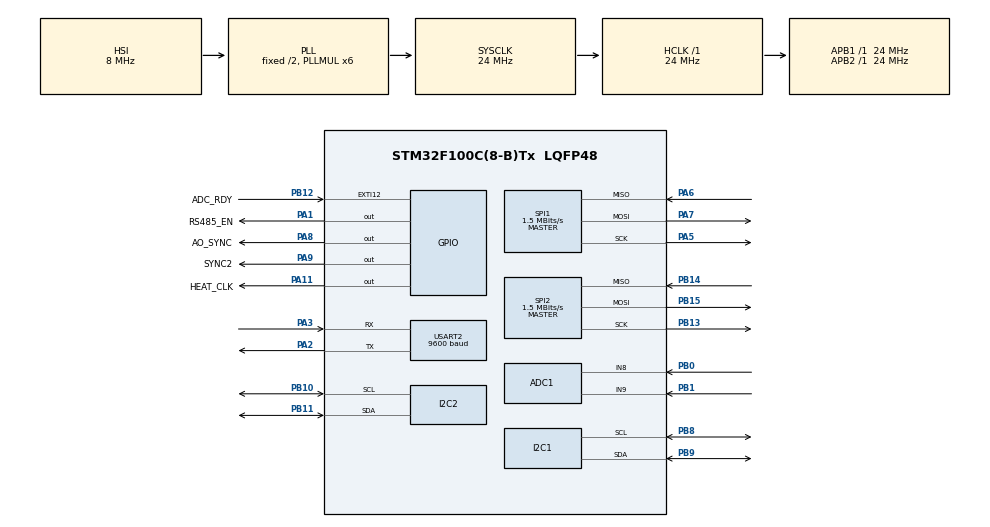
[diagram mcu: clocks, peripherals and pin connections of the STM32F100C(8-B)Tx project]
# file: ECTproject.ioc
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ADC1.Channel-0\#ChannelRegularConversion=ADC_CHANNEL_8
ADC1.ContinuousConvMode=ENABLE
ADC1.NbrOfConversion=1
ADC1.NbrOfConversionFlag=1
ADC1.Rank-0\#ChannelRegularConversion=1
ADC1.SamplingTime-0\#ChannelRegularConversion=ADC_SAMPLETIME_1CYCLE_5
ADC1.master=1
Dma.ADC1.0.Direction=DMA_PERIPH_TO_MEMORY
Dma.ADC1.0.Instance=DMA1_Channel1
Dma.ADC1.0.MemDataAlignment=DMA_MDATAALIGN_HALFWORD
Dma.ADC1.0.MemInc=DMA_MINC_ENABLE
Dma.ADC1.0.Mode=DMA_NORMAL
Dma.ADC1.0.PeriphDataAlignment=DMA_PDATAALIGN_HALFWORD
Dma.ADC1.0.PeriphInc=DMA_PINC_DISABLE
Dma.ADC1.0.Priority=DMA_PRIORITY_LOW
Dma.Request0=ADC1
I2C1.DualAddressMode=I2C_DUALADDRESS_DISABLE
Mcu.Family=STM32F1
Mcu.Name=STM32F100C(8-B)Tx
Mcu.Package=LQFP48
NVIC.DMA1_Channel1_IRQn=true\:0\:0\:false\:false\:true\:false\:true\:true
NVIC.EXTI15_10_IRQn=true\:0\:0\:false\:false\:true\:true\:true\:true
NVIC.PriorityGroup=NVIC_PRIORITYGROUP_4
NVIC.RTC_Alarm_IRQn=true\:0\:0\:false\:false\:true\:true\:true\:true
NVIC.TIM2_IRQn=true\:0\:0\:false\:false\:true\:true\:true\:true
NVIC.TIM3_IRQn=true\:0\:0\:false\:false\:true\:true\:true\:true
NVIC.USART2_IRQn=true\:0\:0\:false\:false\:true\:true\:true\:true
PA1.GPIO_Label=RS485_EN
PA1.Signal=GPIO_Output
PA11.GPIO_Label=HEAT_CLK
PA11.Signal=GPIO_Output
PA13.Mode=Serial_Wire
PA13.Signal=SYS_JTMS-SWDIO
PA14.Mode=Serial_Wire
PA14.Signal=SYS_JTCK-SWCLK
PA2.Mode=Asynchronous
PA2.Signal=USART2_TX
PA3.Mode=Asynchronous
PA3.Signal=USART2_RX
PA5.Mode=Full_Duplex_Master
PA5.Signal=SPI1_SCK
PA6.Mode=Full_Duplex_Master
PA6.Signal=SPI1_MISO
PA7.Mode=Full_Duplex_Master
PA7.Signal=SPI1_MOSI
PA8.GPIO_Label=AO_SYNC
PA8.Signal=GPIO_Output
PA9.GPIO_Label=SYNC2
PA9.Signal=GPIO_Output
PB0.Signal=ADCx_IN8
PB1.Signal=ADCx_IN9
PB10.Mode=I2C
PB10.Signal=I2C2_SCL
PB11.Mode=I2C
PB11.Signal=I2C2_SDA
PB12.GPIO_Label=ADC_RDY
PB12.GPIO_ModeDefaultEXTI=GPIO_MODE_IT_FALLING
PB12.GPIO_PuPd=GPIO_PULLUP
PB12.Signal=GPXTI12
PB13.Mode=Full_Duplex_Master
PB13.Signal=SPI2_SCK
PB14.Mode=Full_Duplex_Master
PB14.Signal=SPI2_MISO
PB15.Mode=Full_Duplex_Master
PB15.Signal=SPI2_MOSI
PB8.Mode=I2C
PB8.Signal=I2C1_SCL
PB9.Mode=I2C
PB9.Signal=I2C1_SDA
PD0-OSC_IN.Mode=HSE-External-Oscillator
PD0-OSC_IN.Signal=RCC_OSC_IN
PD1-OSC_OUT.Mode=HSE-External-Oscillator
PD1-OSC_OUT.Signal=RCC_OSC_OUT
ProjectManager.HeapSize=0x200
ProjectManager.StackSize=0x400
ProjectManager.TargetToolchain=EWARM V7
RCC.AHBFreq_Value=24000000
RCC.APB1Freq_Value=24000000
RCC.APB1TimFreq_Value=24000000
RCC.APB2Freq_Value=24000000
RCC.APB2TimFreq_Value=24000000
RCC.HCLKFreq_Value=24000000
RCC.PLLMUL=RCC_PLL_MUL6
RCC.SYSCLKFreq_VALUE=24000000
RCC.SYSCLKSource=RCC_SYSCLKSOURCE_PLLCLK
SH.ADCx_IN8.0=ADC1_IN8,IN8
SH.ADCx_IN9.0=ADC1_IN9,IN9
SPI1.BaudRatePrescaler=SPI_BAUDRATEPRESCALER_16
SPI1.CLKPolarity=SPI_POLARITY_HIGH
SPI1.CalculateBaudRate=1.5 MBits/s
SPI1.Direction=SPI_DIRECTION_2LINES
SPI1.Mode=SPI_MODE_MASTER
SPI1.VirtualType=VM_MASTER
SPI2.BaudRatePrescaler=SPI_BAUDRATEPRESCALER_16
SPI2.CLKPolarity=SPI_POLARITY_HIGH
SPI2.CalculateBaudRate=1.5 MBits/s
SPI2.Direction=SPI_DIRECTION_2LINES
SPI2.Mode=SPI_MODE_MASTER
SPI2.VirtualType=VM_MASTER
TIM2.AutoReloadPreload=TIM_AUTORELOAD_PRELOAD_ENABLE
TIM2.Period=1
TIM2.Prescaler=24000-1
TIM3.AutoReloadPreload=TIM_AUTORELOAD_PRELOAD_ENABLE
TIM3.CounterMode=TIM_COUNTERMODE_DOWN
TIM3.Period=1
TIM3.Prescaler=24000-1
USART2.BaudRate=9600
USART2.VirtualMode=VM_ASYNC
VP_RTC_VS_RTC_Activate.Mode=RTC_Enabled
VP_TIM2_VS_ClockSourceINT.Mode=Internal
VP_TIM3_VS_ClockSourceINT.Mode=Internal
board=custom

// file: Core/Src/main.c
/* USER CODE BEGIN Header */
/**
  ******************************************************************************
  * @file           : main.c
  * @brief          : Main program body
  ******************************************************************************
  * @attention
  *
  * Copyright (c) 2024 STMicroelectronics.
  * All rights reserved.
  *
  * This software is licensed under terms that can be found in the LICENSE file
  * in the root directory of this software component.
  * If no LICENSE file comes with this software, it is provided AS-IS.
  *
  ******************************************************************************
  */
/* USER CODE END Header */
#include "main.h"

ADC_HandleTypeDef hadc1;
DMA_HandleTypeDef hdma_adc1;

I2C_HandleTypeDef hi2c1;
I2C_HandleTypeDef hi2c2;

RTC_HandleTypeDef hrtc;

SPI_HandleTypeDef hspi1;
SPI_HandleTypeDef hspi2;

TIM_HandleTypeDef htim2;
TIM_HandleTypeDef htim3;

UART_HandleTypeDef huart2;

void SystemClock_Config(void);
static void MX_GPIO_Init(void);
static void MX_DMA_Init(void);
static void MX_ADC1_Init(void);
static void MX_I2C1_Init(void);
static void MX_I2C2_Init(void);
static void MX_SPI1_Init(void);
static void MX_SPI2_Init(void);
static void MX_TIM2_Init(void);
static void MX_USART2_UART_Init(void);
static void MX_RTC_Init(void);
static void MX_TIM3_Init(void);

int main(void)
{
  /* USER CODE BEGIN 1 */
  SCB->VTOR = 0x8000000 | 0x3000;
  /* USER CODE END 1 */

  /* MCU Configuration--------------------------------------------------------*/

  /* Reset of all peripherals, Initializes the Flash interface and the Systick. */
  HAL_Init();

  /* Configure the system clock */
  SystemClock_Config();

  /* Initialize all configured peripherals */
  MX_GPIO_Init();
  MX_DMA_Init();
  MX_ADC1_Init();
  MX_I2C1_Init();
  MX_I2C2_Init();
  MX_SPI1_Init();
  MX_SPI2_Init();
  MX_TIM2_Init();
  MX_USART2_UART_Init();
  MX_RTC_Init();
  MX_TIM3_Init();
  /* USER CODE BEGIN 2 */
  fk_adc1=hadc1;
  fk_dma_adc1=hdma_adc1;
  fk_i2c1=hi2c1;
  fk_i2c2=hi2c2;
  fk_rtc=hrtc;
  fk_spi1=hspi1;
  fk_spi2=hspi2;
  fk_tim2=htim2;
  fk_tim3=htim3;
  fk_usart2=huart2;

  PFC_INIT_API();
  HBTC_INIT_API();
  //BTC_INIT_API();
  MODBUS_SLAVE_INIT_API();
  CRC_INIT_API();
  //KEY_INIT_API();
  //FN_INIT_API();
  ////===== Ver 1.0.05 =====
  ////ST7565_INIT_API();
  //UDM_INIT_API();
  //UIF_INIT_API();
  //GDM_INIT_API();
  //MODBUS_MASTER_INIT_API();
  //EPH_COMM_INIT_API();
  //LED7SEG_INIT_API();
  //SSD_IO_INIT_API();
  //LED_INIT_API();
  /* USER CODE END 2 */

  /* Infinite loop */
  while (1)
  {

  }
}

void SystemClock_Config(void)
{
  RCC_OscInitTypeDef RCC_OscInitStruct = {0};
  RCC_ClkInitTypeDef RCC_ClkInitStruct = {0};
  RCC_PeriphCLKInitTypeDef PeriphClkInit = {0};

  /** Initializes the RCC Oscillators according to the specified parameters
  * in the RCC_OscInitTypeDef structure.
  */
  RCC_OscInitStruct.OscillatorType = RCC_OSCILLATORTYPE_HSI|RCC_OSCILLATORTYPE_LSI;
  RCC_OscInitStruct.HSIState = RCC_HSI_ON;
  RCC_OscInitStruct.HSICalibrationValue = RCC_HSICALIBRATION_DEFAULT;
  RCC_OscInitStruct.LSIState = RCC_LSI_ON;
  RCC_OscInitStruct.PLL.PLLState = RCC_PLL_ON;
  RCC_OscInitStruct.PLL.PLLSource = RCC_PLLSOURCE_HSI_DIV2;
  RCC_OscInitStruct.PLL.PLLMUL = RCC_PLL_MUL6;
  if (HAL_RCC_OscConfig(&RCC_OscInitStruct) != HAL_OK)
  {
    Error_Handler();
  }

  /** Initializes the CPU, AHB and APB buses clocks
  */
  RCC_ClkInitStruct.ClockType = RCC_CLOCKTYPE_HCLK|RCC_CLOCKTYPE_SYSCLK
                              |RCC_CLOCKTYPE_PCLK1|RCC_CLOCKTYPE_PCLK2;
  RCC_ClkInitStruct.SYSCLKSource = RCC_SYSCLKSOURCE_PLLCLK;
  RCC_ClkInitStruct.AHBCLKDivider = RCC_SYSCLK_DIV1;
  RCC_ClkInitStruct.APB1CLKDivider = RCC_HCLK_DIV1;
  RCC_ClkInitStruct.APB2CLKDivider = RCC_HCLK_DIV1;

  if (HAL_RCC_ClockConfig(&RCC_ClkInitStruct, FLASH_LATENCY_0) != HAL_OK)
  {
    Error_Handler();
  }
  PeriphClkInit.PeriphClockSelection = RCC_PERIPHCLK_RTC|RCC_PERIPHCLK_ADC;
  PeriphClkInit.RTCClockSelection = RCC_RTCCLKSOURCE_LSI;
  PeriphClkInit.AdcClockSelection = RCC_ADCPCLK2_DIV2;
  if (HAL_RCCEx_PeriphCLKConfig(&PeriphClkInit) != HAL_OK)
  {
    Error_Handler();
  }
}

static void MX_ADC1_Init(void)
{

  ADC_ChannelConfTypeDef sConfig = {0};

  /** Common config
  */
  hadc1.Instance = ADC1;
  hadc1.Init.ScanConvMode = ADC_SCAN_DISABLE;
  hadc1.Init.ContinuousConvMode = ENABLE;
  hadc1.Init.DiscontinuousConvMode = DISABLE;
  hadc1.Init.ExternalTrigConv = ADC_SOFTWARE_START;
  hadc1.Init.DataAlign = ADC_DATAALIGN_RIGHT;
  hadc1.Init.NbrOfConversion = 1;
  if (HAL_ADC_Init(&hadc1) != HAL_OK)
  {
    Error_Handler();
  }

  /** Configure Regular Channel
  */
  sConfig.Channel = ADC_CHANNEL_8;
  sConfig.Rank = ADC_REGULAR_RANK_1;
  sConfig.SamplingTime = ADC_SAMPLETIME_1CYCLE_5;
  if (HAL_ADC_ConfigChannel(&hadc1, &sConfig) != HAL_OK)
  {
    Error_Handler();
  }

}

static void MX_I2C1_Init(void)
{

  hi2c1.Instance = I2C1;
  hi2c1.Init.ClockSpeed = 100000;
  hi2c1.Init.DutyCycle = I2C_DUTYCYCLE_2;
  hi2c1.Init.OwnAddress1 = 0;
  hi2c1.Init.AddressingMode = I2C_ADDRESSINGMODE_7BIT;
  hi2c1.Init.DualAddressMode = I2C_DUALADDRESS_DISABLE;
  hi2c1.Init.OwnAddress2 = 0;
  hi2c1.Init.GeneralCallMode = I2C_GENERALCALL_DISABLE;
  hi2c1.Init.NoStretchMode = I2C_NOSTRETCH_DISABLE;
  if (HAL_I2C_Init(&hi2c1) != HAL_OK)
  {
    Error_Handler();
  }

}

static void MX_I2C2_Init(void)
{

  hi2c2.Instance = I2C2;
  hi2c2.Init.ClockSpeed = 100000;
  hi2c2.Init.DutyCycle = I2C_DUTYCYCLE_2;
  hi2c2.Init.OwnAddress1 = 0;
  hi2c2.Init.AddressingMode = I2C_ADDRESSINGMODE_7BIT;
  hi2c2.Init.DualAddressMode = I2C_DUALADDRESS_DISABLE;
  hi2c2.Init.OwnAddress2 = 0;
  hi2c2.Init.GeneralCallMode = I2C_GENERALCALL_DISABLE;
  hi2c2.Init.NoStretchMode = I2C_NOSTRETCH_DISABLE;
  if (HAL_I2C_Init(&hi2c2) != HAL_OK)
  {
    Error_Handler();
  }

}

static void MX_RTC_Init(void)
{

  /** Initialize RTC Only
  */
  hrtc.Instance = RTC;
  hrtc.Init.AsynchPrediv = RTC_AUTO_1_SECOND;
  hrtc.Init.OutPut = RTC_OUTPUTSOURCE_ALARM;
  if (HAL_RTC_Init(&hrtc) != HAL_OK)
  {
    Error_Handler();
  }

}

static void MX_SPI1_Init(void)
{

  /* SPI1 parameter configuration*/
  hspi1.Instance = SPI1;
  hspi1.Init.Mode = SPI_MODE_MASTER;
  hspi1.Init.Direction = SPI_DIRECTION_2LINES;
  hspi1.Init.DataSize = SPI_DATASIZE_8BIT;
  hspi1.Init.CLKPolarity = SPI_POLARITY_HIGH;
  hspi1.Init.CLKPhase = SPI_PHASE_1EDGE;
  hspi1.Init.NSS = SPI_NSS_SOFT;
  hspi1.Init.BaudRatePrescaler = SPI_BAUDRATEPRESCALER_16;
  hspi1.Init.FirstBit = SPI_FIRSTBIT_MSB;
  hspi1.Init.TIMode = SPI_TIMODE_DISABLE;
  hspi1.Init.CRCCalculation = SPI_CRCCALCULATION_DISABLE;
  hspi1.Init.CRCPolynomial = 10;
  if (HAL_SPI_Init(&hspi1) != HAL_OK)
  {
    Error_Handler();
  }

}

static void MX_SPI2_Init(void)
{

  /* SPI2 parameter configuration*/
  hspi2.Instance = SPI2;
  hspi2.Init.Mode = SPI_MODE_MASTER;
  hspi2.Init.Direction = SPI_DIRECTION_2LINES;
  hspi2.Init.DataSize = SPI_DATASIZE_8BIT;
  hspi2.Init.CLKPolarity = SPI_POLARITY_HIGH;
  hspi2.Init.CLKPhase = SPI_PHASE_1EDGE;
  hspi2.Init.NSS = SPI_NSS_SOFT;
  hspi2.Init.BaudRatePrescaler = SPI_BAUDRATEPRESCALER_16;
  hspi2.Init.FirstBit = SPI_FIRSTBIT_MSB;
  hspi2.Init.TIMode = SPI_TIMODE_DISABLE;
  hspi2.Init.CRCCalculation = SPI_CRCCALCULATION_DISABLE;
  hspi2.Init.CRCPolynomial = 10;
  if (HAL_SPI_Init(&hspi2) != HAL_OK)
  {
    Error_Handler();
  }

}

static void MX_TIM2_Init(void)
{

  TIM_ClockConfigTypeDef sClockSourceConfig = {0};
  TIM_MasterConfigTypeDef sMasterConfig = {0};

  htim2.Instance = TIM2;
  htim2.Init.Prescaler = 24000-1;
  htim2.Init.CounterMode = TIM_COUNTERMODE_UP;
  htim2.Init.Period = 1;
  htim2.Init.ClockDivision = TIM_CLOCKDIVISION_DIV1;
  htim2.Init.AutoReloadPreload = TIM_AUTORELOAD_PRELOAD_ENABLE;
  if (HAL_TIM_Base_Init(&htim2) != HAL_OK)
  {
    Error_Handler();
  }
  sClockSourceConfig.ClockSource = TIM_CLOCKSOURCE_INTERNAL;
  if (HAL_TIM_ConfigClockSource(&htim2, &sClockSourceConfig) != HAL_OK)
  {
    Error_Handler();
  }
  sMasterConfig.MasterOutputTrigger = TIM_TRGO_RESET;
  sMasterConfig.MasterSlaveMode = TIM_MASTERSLAVEMODE_DISABLE;
  if (HAL_TIMEx_MasterConfigSynchronization(&htim2, &sMasterConfig) != HAL_OK)
  {
    Error_Handler();
  }

}

static void MX_TIM3_Init(void)
{

  TIM_ClockConfigTypeDef sClockSourceConfig = {0};
  TIM_MasterConfigTypeDef sMasterConfig = {0};

  htim3.Instance = TIM3;
  htim3.Init.Prescaler = 24000-1;
  htim3.Init.CounterMode = TIM_COUNTERMODE_DOWN;
  htim3.Init.Period = 1;
  htim3.Init.ClockDivision = TIM_CLOCKDIVISION_DIV1;
  htim3.Init.AutoReloadPreload = TIM_AUTORELOAD_PRELOAD_ENABLE;
  if (HAL_TIM_Base_Init(&htim3) != HAL_OK)
  {
    Error_Handler();
  }
  sClockSourceConfig.ClockSource = TIM_CLOCKSOURCE_INTERNAL;
  if (HAL_TIM_ConfigClockSource(&htim3, &sClockSourceConfig) != HAL_OK)
  {
    Error_Handler();
  }
  sMasterConfig.MasterOutputTrigger = TIM_TRGO_RESET;
  sMasterConfig.MasterSlaveMode = TIM_MASTERSLAVEMODE_DISABLE;
  if (HAL_TIMEx_MasterConfigSynchronization(&htim3, &sMasterConfig) != HAL_OK)
  {
    Error_Handler();
  }

}

static void MX_USART2_UART_Init(void)
{

  huart2.Instance = USART2;
  huart2.Init.BaudRate = 9600;
  huart2.Init.WordLength = UART_WORDLENGTH_8B;
  huart2.Init.StopBits = UART_STOPBITS_1;
  huart2.Init.Parity = UART_PARITY_NONE;
  huart2.Init.Mode = UART_MODE_TX_RX;
  huart2.Init.HwFlowCtl = UART_HWCONTROL_NONE;
  huart2.Init.OverSampling = UART_OVERSAMPLING_16;
  if (HAL_UART_Init(&huart2) != HAL_OK)
  {
    Error_Handler();
  }

}

static void MX_DMA_Init(void)
{

  /* DMA controller clock enable */
  __HAL_RCC_DMA1_CLK_ENABLE();

  /* DMA interrupt init */
  /* DMA1_Channel1_IRQn interrupt configuration */
  HAL_NVIC_SetPriority(DMA1_Channel1_IRQn, 0, 0);
  HAL_NVIC_EnableIRQ(DMA1_Channel1_IRQn);

}

static void MX_GPIO_Init(void)
{
  GPIO_InitTypeDef GPIO_InitStruct = {0};

  /* GPIO Ports Clock Enable */
  __HAL_RCC_GPIOD_CLK_ENABLE();
  __HAL_RCC_GPIOA_CLK_ENABLE();
  __HAL_RCC_GPIOB_CLK_ENABLE();

  /*Configure GPIO pin Output Level */
  HAL_GPIO_WritePin(GPIOA, RS485_EN_Pin|AO_SYNC_Pin|SYNC2_Pin|HEAT_CLK_Pin, GPIO_PIN_RESET);

  /*Configure GPIO pins : RS485_EN_Pin AO_SYNC_Pin SYNC2_Pin HEAT_CLK_Pin */
  GPIO_InitStruct.Pin = RS485_EN_Pin|AO_SYNC_Pin|SYNC2_Pin|HEAT_CLK_Pin;
  GPIO_InitStruct.Mode = GPIO_MODE_OUTPUT_PP;
  GPIO_InitStruct.Pull = GPIO_NOPULL;
  GPIO_InitStruct.Speed = GPIO_SPEED_FREQ_LOW;
  HAL_GPIO_Init(GPIOA, &GPIO_InitStruct);

  /*Configure GPIO pin : ADC_RDY_Pin */
  GPIO_InitStruct.Pin = ADC_RDY_Pin;
  GPIO_InitStruct.Mode = GPIO_MODE_IT_FALLING;
  GPIO_InitStruct.Pull = GPIO_PULLUP;
  HAL_GPIO_Init(ADC_RDY_GPIO_Port, &GPIO_InitStruct);

  /* EXTI interrupt init*/
  HAL_NVIC_SetPriority(EXTI15_10_IRQn, 0, 0);
  HAL_NVIC_EnableIRQ(EXTI15_10_IRQn);

}

void Error_Handler(void)
{
  __disable_irq();
  while (1)
  {
  }
}
